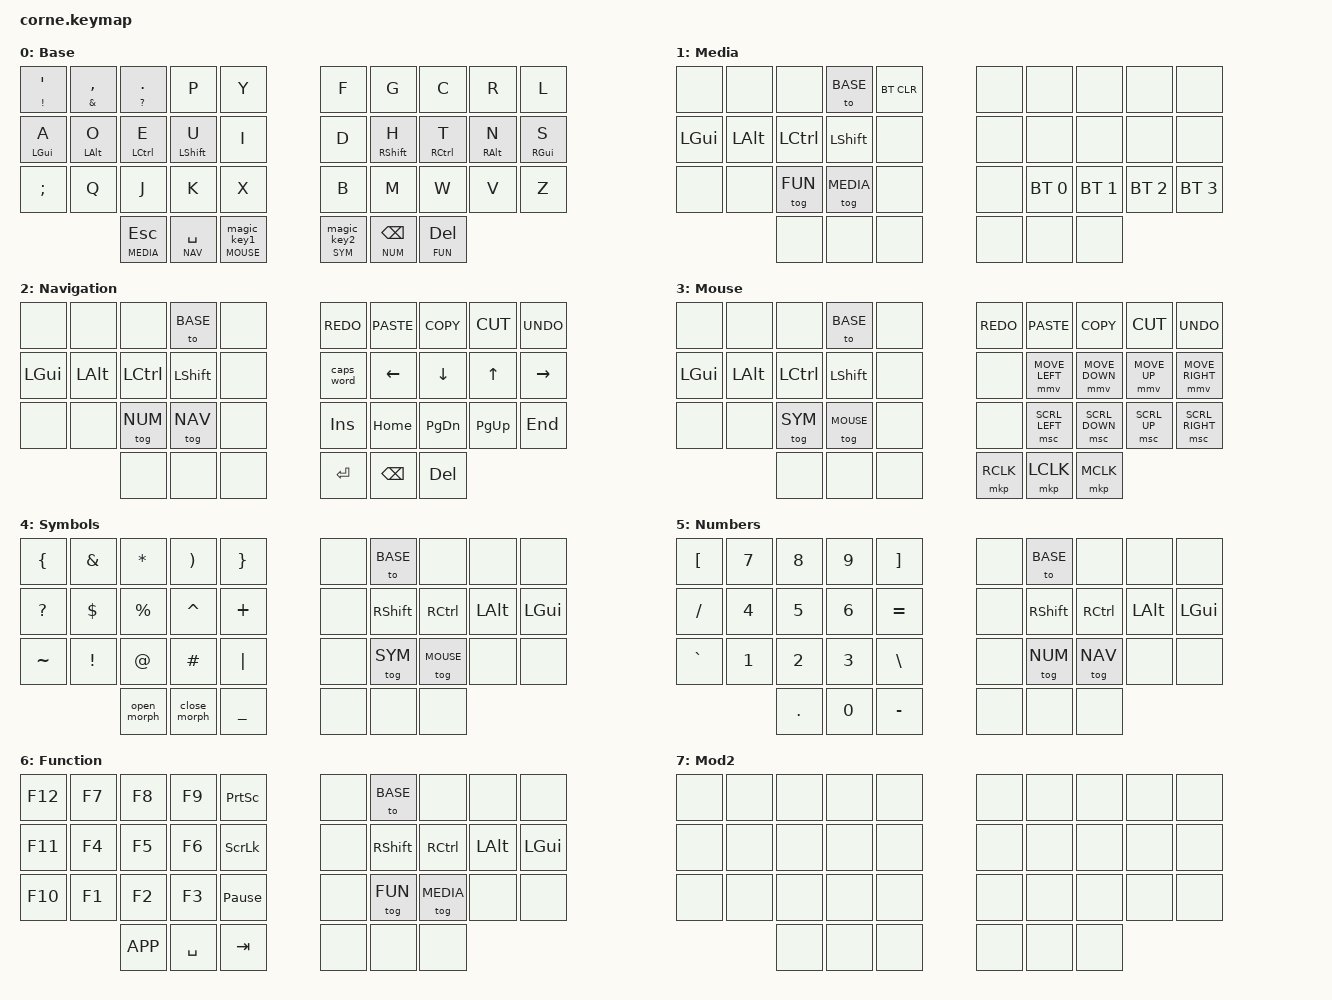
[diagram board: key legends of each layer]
/*
 * Copyright (c) 2020 The ZMK Contributors
 *
 * SPDX-License-Identifier: MIT
 */

#include <behaviors.dtsi>
#include <dt-bindings/zmk/keys.h>
#include <dt-bindings/zmk/bt.h>
#include <dt-bindings/zmk/modifiers.h>
#include <dt-bindings/zmk/mouse.h>

#define AS(keycode) &as LS(keycode) keycode
#define LEFT_HAND_KEYS 0 1 2 3 4 10 11 12 13 14 20 21 22 23 24 30 31 32
#define RIGHT_HAND_KEYS 5 6 7 8 9 15 16 17 18 19 25 26 27 28 29 33 34 35
#define BASE 0
#define MEDIA 1
#define NAV 2
#define MOUSE 3
#define SYM 4
#define NUM 5
#define FUN 6



/ {
    chosen {
        zmk,physical-layout = &foostan_corne_5col_layout;
    };

    macros {
        m_tilde_forward_slash: m_tilde_forward_slash {
            compatible = "zmk,behavior-macro";
            #binding-cells = <0>;
            wait-ms = <30>;
            tap-ms = <40>;
            bindings = <&kp TILDE &kp FSLH>;
        };
        m_dot_forward_slash: m_dot_forward_slash {
            compatible = "zmk,behavior-macro";
            #binding-cells = <0>;
            wait-ms = <30>;
            tap-ms = <40>;
            bindings = <&kp DOT &kp FSLH>;
        };
    };

    behaviors {
        magic_key1: magic_key1 {
            compatible = "zmk,behavior-adaptive-key";
            #binding-cells = <0>;

            /* Fallback behavior if no trigger matches */
            bindings = <&kp TAB>;

            /* Trigger 1: Pressing B -> Magic Key outputs "efore" (completes "before") */

            magic_t {
                trigger-keys = <T>;
                max-prior-idle-ms = <350>;
                bindings = <&kp M &kp E &kp N &kp T >;
            };
            magic_b {
                trigger-keys = <B>;
                max-prior-idle-ms = <350>;
                bindings = <&kp E &kp C &kp A &kp U &kp S &kp E>;
            };
            magic_w {
                trigger-keys = <W>;
                max-prior-idle-ms = <350>;
                bindings = < &kp O &kp U &kp L &kp D >;
            };
            magic_s {
                trigger-keys = <S>;
                max-prior-idle-ms = <350>;
                bindings = < &kp U &kp D &kp O &kp SPACE >;
            };
            magic_c {
                trigger-keys = <C>;
                max-prior-idle-ms = <350>;
                bindings = < &kp O &kp M &kp M &kp I &kp T &kp SPACE >;
            };
            magic_g {
                trigger-keys = <G>;
                max-prior-idle-ms = <350>;
                bindings = < &kp I &kp T &kp SPACE >;
            };

        };
        mf1: magic_function_layer_tap1 {
            compatible = "zmk,behavior-hold-tap";
            #binding-cells = <2>;
            tapping-term-ms = <200>;
            flavor = "tap-preferred";
            bindings = <&mo>, <&magic_key1>;
        };
        magic_key2: magic_key2 {
            compatible = "zmk,behavior-adaptive-key";
            #binding-cells = <0>;

            /* Fallback behavior if no trigger matches */
            bindings = <&kp ENTER>;

            /* Trigger 1: Pressing B -> Magic Key outputs "efore" (completes "before") */

            magic_a {
                trigger-keys = <A>;
                max-prior-idle-ms = <350>;
                bindings = < &kp N &kp D >;
            };
            magic_y {
                trigger-keys = <Y>;
                max-prior-idle-ms = <350>;
                bindings = < &kp O &kp U >;
            };
            magic_j {
                trigger-keys = <J>;
                max-prior-idle-ms = <350>;
                bindings = <&kp U &kp S &kp T >;
            };
            magic_p {
                trigger-keys = <P>;
                max-prior-idle-ms = <350>;
                bindings = < &kp A &kp C &kp M &kp A &kp N &kp SPACE >;
            };
            magic_i {
                trigger-keys = <I>;
                max-prior-idle-ms = <350>;
                bindings = < &kp N &kp G &kp SPACE >;
            };
            magic_esc {
                trigger-keys = <ESC>;
                max-prior-idle-ms = <350>;
                bindings = < &kp COLON &kp W >;
            };
            magic_comma {
                trigger-keys = <COMMA>;
                max-prior-idle-ms = <350>;
                bindings = < &kp SPACE &kp B &kp U &kp T >;
            };
            magic_space {
                trigger-keys = <SPACE>;
                max-prior-idle-ms = <350>;
                bindings = < &kp T &kp H &kp E >;
            };

        };
        mf2: magic_function_layer_tap2 {
            compatible = "zmk,behavior-hold-tap";
            #binding-cells = <2>;
            tapping-term-ms = <200>;
            flavor = "tap-preferred";
            bindings = <&mo>, <&magic_key2>;
        };
        b_slash_hold_tap: b_slash_hold_tap {
            compatible = "zmk,behavior-hold-tap";
            #binding-cells = <2>;
            flavor = "hold-preferred";
            tapping-term-ms = <200>;
            bindings = <&m_dot_forward_slash>, <&kp>;
        };
        open_shift_morph: open_shift_morph {
            compatible = "zmk,behavior-mod-morph";
            #binding-cells = <0>;
            bindings = <&kp LPAR>, <&kp LBRC>;
            mods = <(MOD_LSFT|MOD_RSFT)>;
        };
        open_ctrl_morph: open_ctrl_morph {
            compatible = "zmk,behavior-mod-morph";
            #binding-cells = <0>;
            bindings = <&open_shift_morph>, <&kp LBKT>;
            mods = <(MOD_LCTL|MOD_RCTL)>;
        };
        open_morph: open_morph {
            compatible = "zmk,behavior-mod-morph";
            #binding-cells = <0>;
            bindings = <&open_ctrl_morph>, <&kp LT>;
            mods = <(MOD_LALT|MOD_RALT)>;
        };
        close_shift_morph: close_shift_morph {
            compatible = "zmk,behavior-mod-morph";
            #binding-cells = <0>;
            bindings = <&kp RPAR>, <&kp RBRC>;
            mods = <(MOD_LSFT|MOD_RSFT)>;
        };
        close_ctrl_morph: close_ctrl_morph {
            compatible = "zmk,behavior-mod-morph";
            #binding-cells = <0>;
            bindings = <&close_shift_morph>, <&kp RBKT>;
            mods = <(MOD_LCTL|MOD_RCTL)>;
        };
        close_morph: close_morph {
            compatible = "zmk,behavior-mod-morph";
            #binding-cells = <0>;
            bindings = <&close_ctrl_morph>, <&kp GT>;
            mods = <(MOD_LALT|MOD_RALT)>;
        };
        as: auto_shift {
            compatible = "zmk,behavior-hold-tap";
            #binding-cells = <2>;
            tapping_term_ms = <175>;
            quick_tap_ms = <0>;
            flavor = "tap-preferred";
            bindings = <&kp>, <&kp>;
        };
        mt: mod_tap {
            compatible = "zmk,behavior-hold-tap";
            #binding-cells = <2>;
            flavor = "hold-preferred";
            tapping-term-ms = <200>;
            quick-tap-ms = <150>;
            bindings = <&kp>, <&kp>;
            display-name = "Mod-Tap";
        };
        lt: layer_tap {
            compatible = "zmk,behavior-hold-tap";
            #binding-cells = <2>;
            flavor = "tap-preferred";
            tapping-term-ms = <200>;
            quick-tap-ms = <150>;
            bindings = <&mo>, <&kp>;
            display-name = "Layer-Tap";
        };
        rmt: right_mod_tap {
            compatible = "zmk,behavior-hold-tap";
            #binding-cells = <2>;
            flavor = "balanced";
            tapping-term-ms = <400>;
            quick_tap_ms = <200>;
            bindings = <&kp>, <&kp>;
            hold-trigger-key-positions = <LEFT_HAND_KEYS>;
            hold-trigger-on-release;
        };
        lmt: left_mod_tap {
            compatible = "zmk,behavior-hold-tap";
            #binding-cells = <2>;
            flavor = "balanced";
            tapping-term-ms = <400>;
            quick_tap_ms = <200>;
            bindings = <&kp>, <&kp>;
            hold-trigger-key-positions = <RIGHT_HAND_KEYS>;
            hold-trigger-on-release;
        };
    };

    #include "combos.dtsi"

        keymap {
                compatible = "zmk,keymap";

                default_layer {
// -----------------------------------------------------------------------------------------
// |  '  |  ,  |  .  |  P  |  Y  |     |  F  |  G   |  C   |  R   | L |
// |  A  |  O  |  E  |  U  |  I  |     |  D  |  H   |  T   |  N   | S | 
// |  ;  |  Q  |  J  |  K  |  X  |     |  B  |  M   |  W   |  V   | Z |
//             | GUI | LWR | SPC |     | ENT | RSE  | BSPC |
                        display-name = "Base";
                        bindings = <
   &mt EXCL SINGLE_QUOTE &mt AMPS COMMA &mt QMARK PERIOD &kp P &kp Y     &kp F   &kp G  &kp C  &kp R  &kp L
   &lmt LGUI A &lmt LALT O &lmt LCTRL E &lmt LSHIFT U &kp I             &kp D   &rmt RSHIFT H  &rmt RCTRL T &rmt RALT N  &rmt RGUI S
   &kp SEMICOLON &kp Q &kp J &kp K &kp X         &kp B   &kp M  &kp W  &kp V  &kp Z
        &lt MEDIA ESC &lt NAV SPACE &mf1 MOUSE 0      &mf2 SYM 0 &lt NUM BSPC &lt FUN DEL
                        >;
                };

                media_layer {
                        display-name = "Media";
                        bindings = <
   &none    &none    &none     &to BASE  &bt BT_CLR    &none    &none        &none        &none        &none
   &kp LGUI &kp LALT &kp LCTRL &kp LSHIFT &none    &none    &none        &none        &none        &none
   &none    &none    &tog FUN  &tog MEDIA &none    &none    &bt BT_SEL 0 &bt BT_SEL 1 &bt BT_SEL 2 &bt BT_SEL 3
                     &none     &none      &none    &none    &none        &none
                        >;
                };

                nav_layer {
                        display-name = "Navigation";
                        bindings = <
   &none    &none    &none     &to BASE  &none    &kp K_REDO &kp K_PASTE &kp K_COPY &kp K_CUT &kp K_UNDO
   &kp LGUI &kp LALT &kp LCTRL &kp LSHIFT &none    &caps_word &kp LEFT    &kp DOWN   &kp UP    &kp RIGHT
   &none    &none    &tog NUM  &tog NAV  &none    &kp INS    &kp HOME    &kp PG_DN  &kp PG_UP &kp END
                     &none     &none      &none    &kp ENTER  &kp BSPC    &kp DEL
                        >;
                };
                mouse_layer {
                        display-name = "Mouse";
                        bindings = <
   &none    &none    &none     &to BASE   &none    &kp K_REDO &kp K_PASTE    &kp K_COPY     &kp K_CUT    &kp K_UNDO
   &kp LGUI &kp LALT &kp LCTRL &kp LSHIFT  &none    &none      &mmv MOVE_LEFT &mmv MOVE_DOWN &mmv MOVE_UP &mmv MOVE_RIGHT
   &none    &none    &tog SYM   &tog MOUSE &none    &none      &msc SCRL_LEFT &msc SCRL_DOWN &msc SCRL_UP &msc SCRL_RIGHT
                     &none     &none       &none    &mkp RCLK  &mkp LCLK      &mkp MCLK
                        >;
                };

                symbol_layer {
                        display-name = "Symbols";
                        bindings = <
   &kp LBRC  &kp AMPS &kp STAR     &kp RPAR      &kp RBRC   &none &to BASE  &none     &none    &none
   &kp QMARK &kp DLLR &kp PRCNT    &kp CARET     &kp PLUS   &none &kp RSHIFT &kp RCTRL &kp LALT &kp LGUI
   &kp TILDE &kp EXCL &kp AT       &kp POUND     &kp PIPE   &none &tog SYM   &tog MOUSE &none    &none
                      &open_morph  &close_morph  &kp UNDER  &none &none      &none
                        >;
                };

               number_layer {
                        display-name = "Numbers";
                        bindings = <
   &kp LBKT  &kp N7 &kp N8 &kp N9 &kp RBKT  &none &to BASE  &none     &none    &none
   &kp FSLH  &kp N4 &kp N5 &kp N6 &kp EQUAL &none &kp RSHIFT &kp RCTRL &kp LALT &kp LGUI
   &kp GRAVE &kp N1 &kp N2 &kp N3 &kp BSLH  &none &tog NUM   &tog NAV  &none    &none
                       &kp DOT   &kp N0 &kp MINUS &none &none      &none
                        >;
                };

                function_layer {
                        display-name = "Function";
                        bindings = <
   &kp F12 &kp F7 &kp F8    &kp F9    &kp PSCRN         &none &to BASE  &none      &none    &none
   &kp F11 &kp F4 &kp F5    &kp F6    &kp SLCK          &none &kp RSHIFT &kp RCTRL  &kp LALT &kp LGUI
   &kp F10 &kp F1 &kp F2    &kp F3    &kp PAUSE_BREAK   &none &tog FUN   &tog MEDIA &none    &none
                  &kp K_APP &kp SPACE &kp TAB           &none &none      &none
                        >;
                };

                mod_layer_2 {
                        display-name = "Mod2";
                        bindings = <
   &none    &none    &none    &none    &none    &none    &none    &none    &none    &none
   &none    &none    &none    &none    &none    &none    &none    &none    &none    &none
   &none    &none    &none    &none    &none    &none    &none    &none    &none    &none
                     &none    &none    &none    &none    &none    &none
                        >;
                };

                extra_1 {
                        status = "reserved";
                };

                extra_2 {
                        status = "reserved";
                };

                extra_3 {
                        status = "reserved";
                };
        };
};
